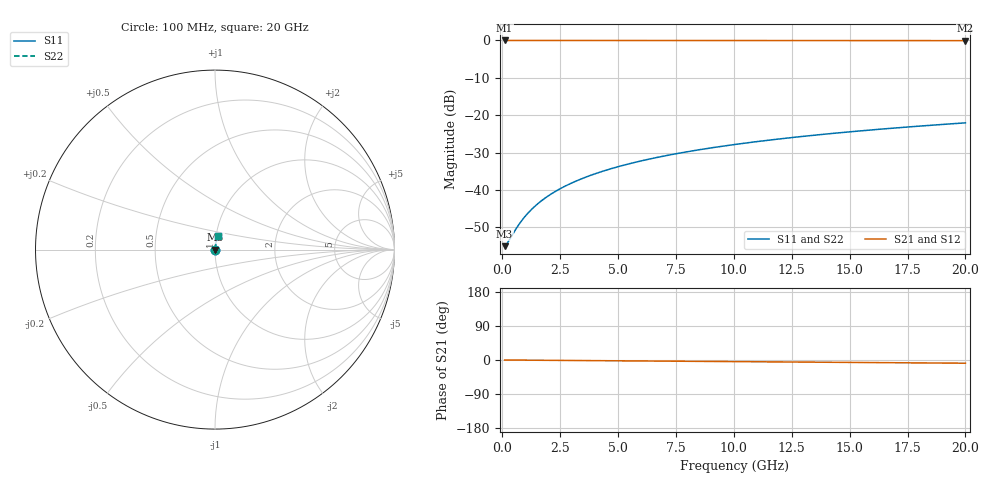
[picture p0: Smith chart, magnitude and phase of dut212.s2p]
! Touchstone file exported from HFSS 2026.1.0
!  File:  C:/ffzhzh/LocalFiles/Ansys_Project_Files/temp_train_TSV_212_1782991993_42984.aedt
!  Generated:  07:35:50 PM Jul  2, 2026
!  Design:  TSV
!  Project:  temp_train_TSV_212_1782991993_42984
! Variables:
!  h_bsmrdl = 2um
!  h_ox = 20um
!  h_rdl = 5um
!  h_sub = 74.24um
!  h_tmrdl = 5um
!  h_tsv = 74.24um
!  h_via = 3um
!  l_bsmrdl = 300um
!  l_sub = 404.46um
!  l_tmrdl = 200um
!  m_sub = 200um
!  pitch = 24.32um
!  r_tsv = 2.23um
!  s_tmrdl = 10um
!  w_bsmrdl = 18um
!  w_sub = 500um
!  w_tmrdl = 12um
!  x_tsv_center1 = 206um
!  x_tsv_center2 = 524um
!  x_tsv_center3 = 736um
!  x_tsv_center4 = 1054um
!  x_tsv_center5 = 1266um
!  x_tsv_center6 = 1584um
# GHz S MA R 50.000000
! Terminal data exported
! Port[1] = TSV1_1_T1
! Port[2] = TSV1_1_T2
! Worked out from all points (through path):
!   200 points, 100 MHz to 20 GHz, reference 50 ohm
!   highest |S21| = -0.01 dB at 100 MHz (marker M1); lowest = -0.1 dB at 20 GHz (marker M2)
!   group delay of S21, straight-line fit = 1.18 ps
!   lowest |S11| = -55.0 dB at 100 MHz (marker M3), VSWR 1.00, Z = 50.2 + j0.0419 ohm
!   |S11| at or under -10 dB: start of sweep to end of sweep
!   |S22| runs from -55.0 to -22.0 dB; largest |S21 - S12| = 4.3e-15
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0.1  0.001773 13.6  0.9983 -0.0  0.9983 -0.0  0.001773 13.6
! Gamma 0 0 0 0
! Port Impedance 50 0 50 0
0.2  0.001919 25.8  0.9983 -0.1  0.9983 -0.1  0.001919 25.8
0.3  0.002138 35.7  0.9983 -0.1  0.9983 -0.1  0.002138 35.7
0.6  0.003047 54.6  0.9982 -0.3  0.9982 -0.3  0.003047 54.6
0.7  0.003393 58.4  0.9982 -0.3  0.9982 -0.3  0.003393 58.4
0.9  0.00412 64.1  0.9982 -0.4  0.9982 -0.4  0.00412 64.1
1.2  0.005255 69.5  0.9982 -0.5  0.9982 -0.5  0.005255 69.5
1.5  0.006422 73.0  0.9982 -0.6  0.9982 -0.6  0.006422 73.0
1.9  0.008002 76.0  0.9981 -0.8  0.9981 -0.8  0.008002 76.0
2.4  0.01 78.3  0.9981 -1.0  0.9981 -1.0  0.01 78.3
2.9  0.01201 79.7  0.998 -1.3  0.998 -1.3  0.01201 79.7
3.5  0.01443 80.8  0.998 -1.5  0.998 -1.5  0.01443 80.8
4.2  0.01725 81.6  0.9979 -1.8  0.9979 -1.8  0.01725 81.6
5  0.02048 82.1  0.9977 -2.2  0.9977 -2.2  0.02048 82.1
5.9  0.0241 82.3  0.9975 -2.5  0.9975 -2.5  0.0241 82.3
6.8  0.02771 82.4  0.9973 -2.9  0.9973 -2.9  0.02771 82.4
8.3  0.03369 82.2  0.997 -3.6  0.997 -3.6  0.03369 82.2
10.1  0.04082 81.8  0.9965 -4.3  0.9965 -4.3  0.04082 81.8
11.7  0.0471 81.4  0.9959 -5.0  0.9959 -5.0  0.0471 81.4
13.4  0.05372 80.9  0.9954 -5.7  0.9954 -5.7  0.05372 80.9
16.7  0.06643 79.7  0.9941 -7.1  0.9941 -7.1  0.06643 79.7
20  0.07899 78.6  0.9928 -8.5  0.9928 -8.5  0.07899 78.6
